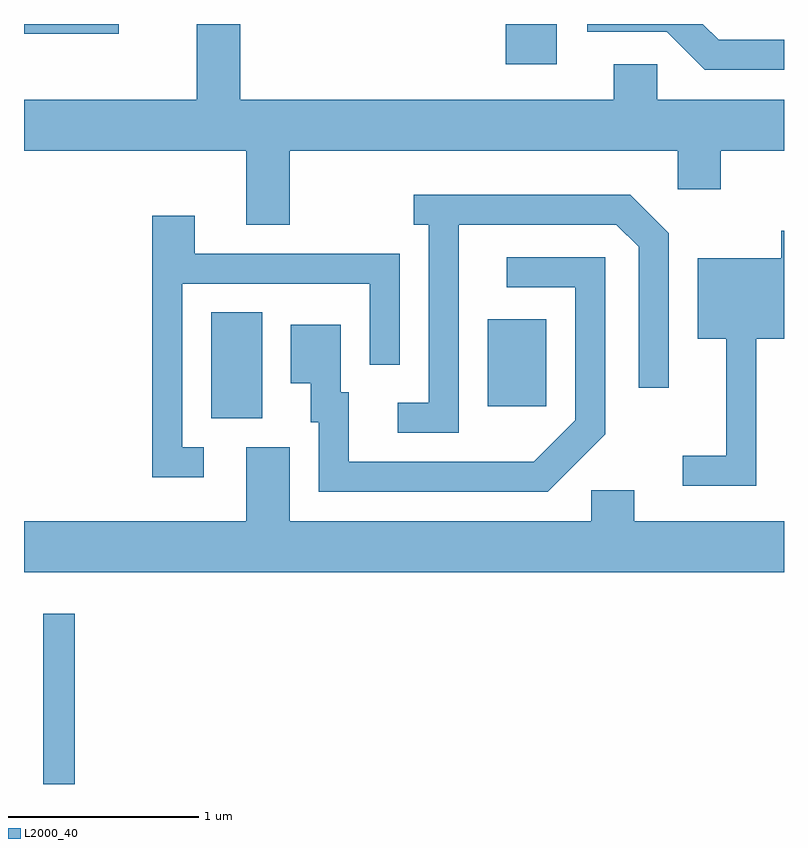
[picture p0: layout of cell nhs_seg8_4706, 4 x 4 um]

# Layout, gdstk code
import gdstk
lib = gdstk.Library(unit=1e-6, precision=1e-09)
def R(c, l, rs):  # rectangles x0, y0, x1, y1
    for r in rs: c.add(gdstk.rectangle(r[:2], r[2:], *l))
def P(c, l, *ps):  # polygons
    for p in ps: c.add(gdstk.Polygon(p, *l))
L2000_40 = (2000, 40)

nhs_seg8_4706 = lib.new_cell('nhs_seg8_4706')
R(nhs_seg8_4706, L2000_40, [(325.711,1906.342,325.879,1907.238), (326.596,1908.266,326.864,1908.824), (328.051,1908.331,328.359,1908.789), (328.146,1910.131,328.414,1910.342), (325.611,1910.291,326.109,1910.342)])
P(nhs_seg8_4706, L2000_40, [(327.009,1909.676),(329.051,1909.676),(329.051,1909.471),(329.279,1909.471),(329.279,1909.676),(329.611,1909.676),(329.611,1909.944),(328.944,1909.944),(328.944,1910.129),(328.716,1910.129),(328.716,1909.944),(326.749,1909.944),(326.749,1910.342),(326.521,1910.342),(326.521,1909.944),(325.611,1909.944),(325.611,1909.676),(326.781,1909.676),(326.781,1909.286),(327.009,1909.286)],
  [(329.611,1910.259),(329.267,1910.259),(329.184,1910.342),(328.576,1910.342),(328.576,1910.301),(328.994,1910.301),(329.194,1910.101),(329.611,1910.101)],
  [(327.899,1909.286),(328.729,1909.286),(328.846,1909.169),(328.846,1908.428),(329.004,1908.428),(329.004,1909.242),(328.802,1909.444),(327.663,1909.444),(327.663,1909.286),(327.741,1909.286),(327.741,1908.349),(327.578,1908.349),(327.578,1908.191),(327.899,1908.191)],
  [(326.558,1908.114),(326.444,1908.114),(326.444,1908.976),(327.431,1908.976),(327.431,1908.548),(327.589,1908.548),(327.589,1909.134),(326.509,1909.134),(326.509,1909.334),(326.286,1909.334),(326.286,1907.956),(326.558,1907.956)],
  [(329.464,1908.686),(329.611,1908.686),(329.611,1909.254),(329.596,1909.254),(329.596,1909.109),(329.156,1909.109),(329.156,1908.686),(329.306,1908.686),(329.306,1908.069),(329.078,1908.069),(329.078,1907.911),(329.464,1907.911)],
  [(328.669,1908.184),(328.669,1909.114),(328.153,1909.114),(328.153,1908.956),(328.511,1908.956),(328.511,1908.257),(328.294,1908.039),(327.319,1908.039),(327.319,1908.404),(327.279,1908.404),(327.279,1908.759),(327.016,1908.759),(327.016,1908.451),(327.121,1908.451),(327.121,1908.246),(327.161,1908.246),(327.161,1907.881),(328.367,1907.881)],
  [(329.611,1907.724),(328.824,1907.724),(328.824,1907.889),(328.596,1907.889),(328.596,1907.724),(327.009,1907.724),(327.009,1908.114),(326.781,1908.114),(326.781,1907.724),(325.611,1907.724),(325.611,1907.456),(329.611,1907.456)])

lib.write_gds('nhs_seg8_4706.gds')
